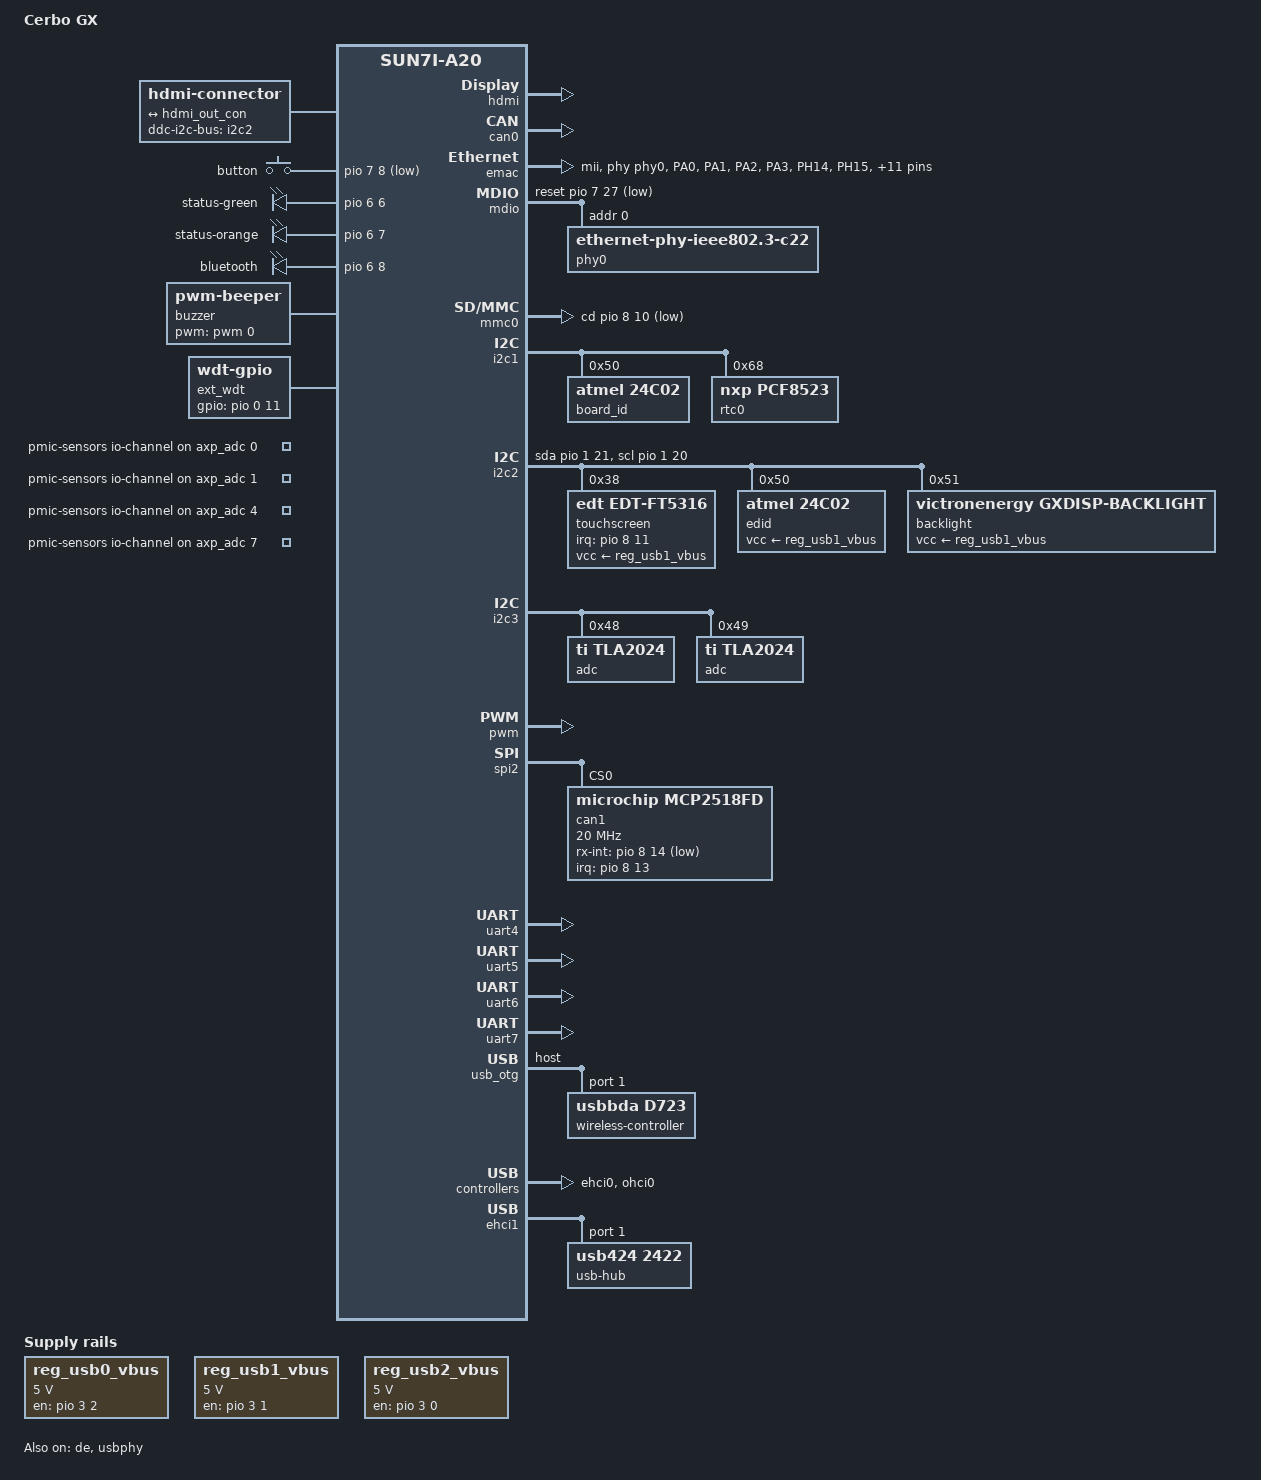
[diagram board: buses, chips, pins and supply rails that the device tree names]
/*
 * Copyright (C) 2018 Mans Rullgard <mans@mansr.com>
 *
 * This file is dual-licensed: you can use it either under the terms
 * of the GPL or the X11 license, at your option. Note that this dual
 * licensing only applies to this file, and not this project as a
 * whole.
 *
 *  a) This file is free software; you can redistribute it and/or
 *     modify it under the terms of the GNU General Public License as
 *     published by the Free Software Foundation; either version 2 of the
 *     License, or (at your option) any later version.
 *
 *     This file is distributed in the hope that it will be useful,
 *     but WITHOUT ANY WARRANTY; without even the implied warranty of
 *     MERCHANTABILITY or FITNESS FOR A PARTICULAR PURPOSE.  See the
 *     GNU General Public License for more details.
 *
 * Or, alternatively,
 *
 *  b) Permission is hereby granted, free of charge, to any person
 *     obtaining a copy of this software and associated documentation
 *     files (the "Software"), to deal in the Software without
 *     restriction, including without limitation the rights to use,
 *     copy, modify, merge, publish, distribute, sublicense, and/or
 *     sell copies of the Software, and to permit persons to whom the
 *     Software is furnished to do so, subject to the following
 *     conditions:
 *
 *     The above copyright notice and this permission notice shall be
 *     included in all copies or substantial portions of the Software.
 *
 *     THE SOFTWARE IS PROVIDED "AS IS", WITHOUT WARRANTY OF ANY KIND,
 *     EXPRESS OR IMPLIED, INCLUDING BUT NOT LIMITED TO THE WARRANTIES
 *     OF MERCHANTABILITY, FITNESS FOR A PARTICULAR PURPOSE AND
 *     NONINFRINGEMENT. IN NO EVENT SHALL THE AUTHORS OR COPYRIGHT
 *     HOLDERS BE LIABLE FOR ANY CLAIM, DAMAGES OR OTHER LIABILITY,
 *     WHETHER IN AN ACTION OF CONTRACT, TORT OR OTHERWISE, ARISING
 *     FROM, OUT OF OR IN CONNECTION WITH THE SOFTWARE OR THE USE OR
 *     OTHER DEALINGS IN THE SOFTWARE.
 */

/dts-v1/;

#include "sun7i-a20-einstein.dtsi"
#include <dt-bindings/input/input.h>

/ {
	model = "Cerbo GX";
	compatible = "victronenergy,cerbo-gx-b1",
		     "cubietech,einstein",
		     "allwinner,sun7i-a20";

	aliases {
		ethernet0 = &emac;
		nvmem0 = &board_id;
		nvmem1 = &edid;
		rtc0 = &rtc0;
		rtc1 = &rtc;
		watchdog0 = &ext_wdt;
		watchdog1 = &wdt;
	};

	hdmi-connector {
		compatible = "hdmi-connector";
		type = "a";
		ddc-i2c-bus = <&i2c2>;

		port {
			hdmi_con_in: endpoint {
				remote-endpoint = <&hdmi_out_con>;
			};
		};
	};

	button {
		compatible = "gpio-keys";

		button {
			linux,code = <KEY_CONFIG>;
			gpios = <&pio 7 8 GPIO_ACTIVE_LOW>; /* PH8 */
		};
	};

	leds {
		compatible = "gpio-leds";

		led-status-green {
			label = "status-green";
			gpios = <&pio 6 6 GPIO_ACTIVE_HIGH>; /* PG6 */
			default-state = "off";
		};

		led-status-orange {
			label = "status-orange";
			gpios = <&pio 6 7 GPIO_ACTIVE_HIGH>; /* PG7 */
			linux,default-trigger = "blink-slow";
		};

		led-bluetooth {
			label = "bluetooth";
			gpios = <&pio 6 8 GPIO_ACTIVE_HIGH>; /* PG8 */
			default-state = "off";
		};
	};

	buzzer {
		compatible = "pwm-beeper";
		pwms = <&pwm 0 1000000 0>;
	};

	ext_wdt: watchdog {
		compatible = "linux,wdt-gpio";
		gpios = <&pio 0 11 GPIO_ACTIVE_HIGH>; /* PA11 */
		hw_algo = "toggle";
		hw_margin_ms = <30000>;
		always-running;
	};

	pmic-sensors {
		compatible = "iio-hwmon";
		io-channels = <&axp_adc 0>, <&axp_adc 1>,
			      <&axp_adc 4>, <&axp_adc 7>;
	};

	can_clk: can-clk {
		compatible = "fixed-clock";
		#clock-cells = <0>;
		clock-frequency = <40000000>;
	};

	reg_usb0_vbus: usb0-vbus {
		compatible = "regulator-fixed";
		regulator-name = "usb0-vbus";
		regulator-min-microvolt = <5000000>;
		regulator-max-microvolt = <5000000>;
		enable-active-high;
		gpio = <&pio 3 2 GPIO_ACTIVE_HIGH>; /* PD2 */
	};

	reg_usb1_vbus: usb1-vbus {
		compatible = "regulator-fixed";
		regulator-name = "usb1-vbus";
		regulator-min-microvolt = <5000000>;
		regulator-max-microvolt = <5000000>;
		regulator-always-on;
		enable-active-high;
		gpio = <&pio 3 1 GPIO_ACTIVE_HIGH>; /* PD1 */
	};

	reg_usb2_vbus: usb2-vbus {
		compatible = "regulator-fixed";
		regulator-name = "usb2-vbus";
		regulator-min-microvolt = <5000000>;
		regulator-max-microvolt = <5000000>;
		enable-active-high;
		gpio = <&pio 3 0 GPIO_ACTIVE_HIGH>; /* PD0 */
	};
};

&de {
	status = "okay";
};

&hdmi {
	status = "okay";
};

&hdmi_out {
	hdmi_out_con: endpoint {
		remote-endpoint = <&hdmi_con_in>;
	};
};

&can0 {
	pinctrl-names = "default";
	pinctrl-0 = <&can_pa_pins>;
	status = "okay";
};

&emac {
	pinctrl-names = "default";
	pinctrl-0 = <&emac_pah_pins>;
	phy-handle = <&phy0>;
	phy-mode = "mii";
	status = "okay";
};

&emac_sram {
	status = "okay";
};

&mdio {
	reset-gpios = <&pio 7 27 GPIO_ACTIVE_LOW>; /* PH27 */
	reset-delay-us = <10000>;
	reset-post-delay-us = <10000>;
	status = "okay";

	phy0: ethernet-phy@0 {
		compatible = "ethernet-phy-ieee802.3-c22";
		reg = <0>;
		clocks = <&mii_phy_tx_clk>;
		smsc,disable-energy-detect;
	};
};

&mmc0 {
	cd-gpios = <&pio 8 10 GPIO_ACTIVE_LOW>; /* PI10 */
	status = "okay";
};

&mmc3 {
	status = "disabled";
};

&i2c1 {
	status = "okay";

	board_id: eeprom@50 {
		compatible = "atmel,24c02";
		reg = <0x50>;
		pagesize = <16>;
		read-only;
	};

	rtc0: rtc@68 {
		compatible = "nxp,pcf8523";
		status = "okay";
		reg = <0x68>;
	};
};

&i2c2 {
	pinctrl-names = "default", "gpio";
	pinctrl-0 = <&i2c2_pins>;
	pinctrl-1 = <&i2c2_gpio_pins>;
	scl-gpios = <&pio 1 20 GPIO_ACTIVE_HIGH>; /* PB20 */
	sda-gpios = <&pio 1 21 GPIO_ACTIVE_HIGH>; /* PB21 */
	status = "okay";

	touchscreen@38 {
		compatible = "edt,edt-ft5316", "edt,edt-ft5306";
		reg = <0x38>;
		vcc-supply = <&reg_usb1_vbus>;
		interrupt-parent = <&pio>;
		interrupts = <8 11 IRQ_TYPE_EDGE_FALLING>;
	};

	edid: eeprom@50 {
		compatible = "atmel,24c02";
		reg = <0x50>;
		vcc-supply = <&reg_usb1_vbus>;
		pagesize = <16>;
		read-only;
	};

	backlight@51 {
		compatible = "victronenergy,gxdisp-backlight";
		reg = <0x51>;
		vcc-supply = <&reg_usb1_vbus>;
		default-on;
		default-brightness = <15>;
	};
};

&i2c3 {
	status = "okay";

	adc@48 {
		compatible = "ti,tla2024";
		reg = <0x48>;

		ain0 {
			single-channel = <0>;
		};

		ain1 {
			single-channel = <1>;
		};

		ain2 {
			single-channel = <2>;
		};

		ain3 {
			single-channel = <3>;
		};
	};

	adc@49 {
		compatible = "ti,tla2024";
		reg = <0x49>;

		ain0 {
			single-channel = <0>;
		};

		ain1 {
			single-channel = <1>;
		};

		ain2 {
			single-channel = <2>;
		};

		ain3 {
			single-channel = <3>;
		};
	};
};

&pwm {
	pinctrl-names = "default";
	pinctrl-0 = <&pwm0_pin>;
	status = "okay";
};

&spi2 {
	pinctrl-names = "default";
	pinctrl-0 = <&spi2_pb_pins>, <&spi2_cs0_pb_pin>;
	status = "okay";

	assigned-clocks = <&ccu CLK_SPI2>;
	assigned-clock-rates = <600000000>;

	can1: can@0 {
		compatible = "microchip,mcp2518fd";
		reg = <0>;
		spi-max-frequency = <20000000>;
		clocks = <&can_clk>;
		interrupt-parent = <&pio>;
		interrupts = <8 13 IRQ_TYPE_LEVEL_LOW>; /* PI13 */
		microchip,rx-int-gpios = <&pio 8 14 GPIO_ACTIVE_LOW>; /* PI14 */
	};
};

&uart1 {
	status = "disabled";
};

&uart2 {
	status = "disabled";
};

&uart3 {
	status = "disabled";
};

&uart4 {
	pinctrl-names = "default";
	pinctrl-0 = <&uart4_ph_pins>;
	status = "okay";
};

&uart5 {
	pinctrl-names = "default";
	pinctrl-0 = <&uart5_ph_pins>;
	status = "okay";
};

&uart6 {
	pinctrl-names = "default";
	pinctrl-0 = <&uart6_pa_pins>;
	status = "okay";
};

&uart7 {
	pinctrl-names = "default";
	pinctrl-0 = <&uart7_pa_pins>;
	status = "okay";
};

&usb_otg {
	dr_mode = "host";
	status = "okay";

	#address-cells = <1>;
	#size-cells = <0>;

	wireless-controller@1 {
		compatible = "usbbda,d723";
		reg = <1>;
	};
};

&otg_sram {
	status = "okay";
};

&ehci0 {
	status = "okay";
};

&ohci0 {
	status = "okay";
};

&ehci1 {
	status = "okay";

	#address-cells = <1>;
	#size-cells = <0>;

	usb-hub@1 {
		compatible = "usb424,2422";
		reg = <1>;
	};
};

&ohci1 {
	status = "disabled";
};

&usbphy {
	usb0_vbus-supply = <&reg_usb0_vbus>;
	usb1_vbus-supply = <&reg_usb1_vbus>;
	usb2_vbus-supply = <&reg_usb2_vbus>;
	status = "okay";
};

&pio {
	gpio-line-names =
		"relay_1",
		"relay_2",
		"digital_input_3",
		"digital_input_2",
		"digital_input_1",
		"digital_input_4",
		"mkx_rst",
		"vebus_standby";
	gpio-line-numbers =
		<4>,		/* PA4 */
		<5>,		/* PA5 */
		<224>,		/* PH0 */
		<225>,		/* PH1 */
		<226>,		/* PH2 */
		<227>,		/* PH3 */
		<122>,		/* PD26 */
		<123>;		/* PD27 */

	emac_pah_pins: emac-pah-pins {
		pins = "PA0", "PA1", "PA2", "PA3",
		       "PH14", "PH15", "PH16", "PH17",
		       "PA8", "PH19", "PH20", "PH21",
		       "PH22", "PH23", "PH24", "PH25",
		       "PH26";
		function = "emac";
	};

	i2c2_gpio_pins: i2c2-gpio-pins {
		pins = "PB20", "PB21";
		function = "gpio_out";
	};
};
